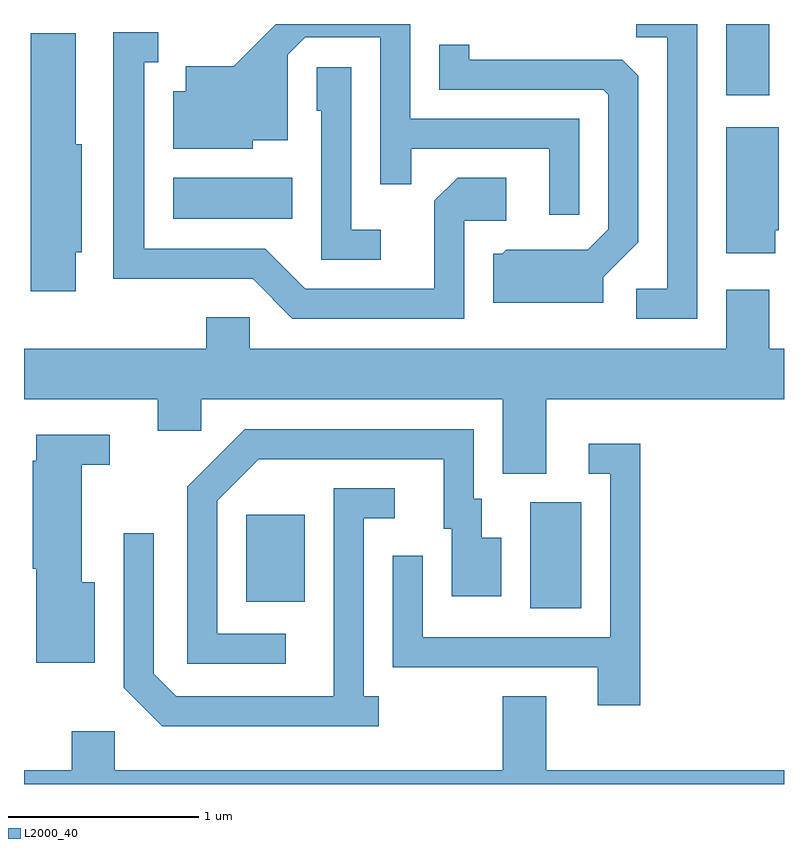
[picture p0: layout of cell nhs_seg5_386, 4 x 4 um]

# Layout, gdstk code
import gdstk
lib = gdstk.Library(unit=1e-6, precision=1e-09)
def R(c, l, rs):  # rectangles x0, y0, x1, y1
    for r in rs: c.add(gdstk.rectangle(r[:2], r[2:], *l))
def P(c, l, *ps):  # polygons
    for p in ps: c.add(gdstk.Polygon(p, *l))
L2000_40 = (2000, 40)

nhs_seg5_386 = lib.new_cell('nhs_seg5_386')
R(nhs_seg5_386, L2000_40, [(198.276,1488.996,198.544,1489.554), (196.781,1489.031,197.089,1489.489), (196.396,1491.046,197.024,1491.264), (199.306,1491.696,199.534,1492.072)])
P(nhs_seg5_386, L2000_40, [(198.534,1491.574),(197.644,1491.574),(197.644,1492.072),(196.937,1492.072),(196.714,1491.849),(196.461,1491.849),(196.461,1491.719),(196.396,1491.719),(196.396,1491.416),(196.814,1491.416),(196.814,1491.461),(196.999,1491.461),(196.999,1491.909),(197.092,1492.001),(197.486,1492.001),(197.486,1491.228),(197.649,1491.228),(197.649,1491.416),(198.376,1491.416),(198.376,1491.068),(198.534,1491.068)],
  [(199.154,1492.072),(198.833,1492.072),(198.833,1492.001),(198.996,1492.001),(198.996,1490.679),(198.833,1490.679),(198.833,1490.521),(199.154,1490.521)],
  [(197.929,1491.036),(198.149,1491.036),(198.149,1491.264),(197.894,1491.264),(197.771,1491.142),(197.771,1490.679),(197.092,1490.679),(196.882,1490.889),(196.244,1490.889),(196.244,1491.871),(196.318,1491.871),(196.318,1492.029),(196.081,1492.029),(196.081,1490.731),(196.814,1490.731),(197.024,1490.521),(197.929,1490.521)],
  [(195.884,1490.871),(195.914,1490.871),(195.914,1491.439),(195.884,1491.439),(195.884,1492.024),(195.646,1492.024),(195.646,1490.666),(195.884,1490.666)],
  [(198.659,1490.739),(198.844,1490.924),(198.844,1491.799),(198.759,1491.884),(197.954,1491.884),(197.954,1491.963),(197.796,1491.963),(197.796,1491.726),(198.659,1491.726),(198.686,1491.699),(198.686,1490.992),(198.579,1490.884),(198.149,1490.884),(198.129,1490.864),(198.081,1490.864),(198.081,1490.606),(198.659,1490.606)],
  [(197.488,1490.989),(197.334,1490.989),(197.334,1491.844),(197.151,1491.844),(197.151,1491.616),(197.176,1491.616),(197.176,1490.831),(197.488,1490.831)],
  [(199.564,1490.986),(199.584,1490.986),(199.584,1491.529),(199.306,1491.529),(199.306,1490.866),(199.564,1490.866)],
  [(198.359,1490.096),(199.611,1490.096),(199.611,1490.364),(199.534,1490.364),(199.534,1490.674),(199.306,1490.674),(199.306,1490.364),(196.799,1490.364),(196.799,1490.529),(196.571,1490.529),(196.571,1490.364),(195.611,1490.364),(195.611,1490.096),(196.316,1490.096),(196.316,1489.931),(196.544,1489.931),(196.544,1490.096),(198.131,1490.096),(198.131,1489.706),(198.359,1489.706)],
  [(196.988,1488.864),(196.629,1488.864),(196.629,1489.564),(196.847,1489.781),(197.821,1489.781),(197.821,1489.416),(197.861,1489.416),(197.861,1489.061),(198.124,1489.061),(198.124,1489.369),(198.019,1489.369),(198.019,1489.574),(197.979,1489.574),(197.979,1489.939),(196.774,1489.939),(196.471,1489.637),(196.471,1488.706),(196.988,1488.706)],
  [(195.984,1489.134),(195.914,1489.134),(195.914,1489.751),(196.063,1489.751),(196.063,1489.909),(195.676,1489.909),(195.676,1489.774),(195.656,1489.774),(195.656,1489.206),(195.676,1489.206),(195.676,1488.711),(195.984,1488.711)],
  [(198.854,1489.864),(198.583,1489.864),(198.583,1489.706),(198.696,1489.706),(198.696,1488.844),(197.709,1488.844),(197.709,1489.273),(197.551,1489.273),(197.551,1488.686),(198.631,1488.686),(198.631,1488.486),(198.854,1488.486)],
  [(197.478,1488.534),(197.399,1488.534),(197.399,1489.471),(197.563,1489.471),(197.563,1489.629),(197.241,1489.629),(197.241,1488.534),(196.412,1488.534),(196.294,1488.652),(196.294,1489.393),(196.136,1489.393),(196.136,1488.579),(196.339,1488.376),(197.478,1488.376)],
  [(199.611,1488.144),(198.359,1488.144),(198.359,1488.534),(198.131,1488.534),(198.131,1488.144),(196.089,1488.144),(196.089,1488.349),(195.861,1488.349),(195.861,1488.144),(195.611,1488.144),(195.611,1488.072),(199.611,1488.072)])

lib.write_gds('nhs_seg5_386.gds')
